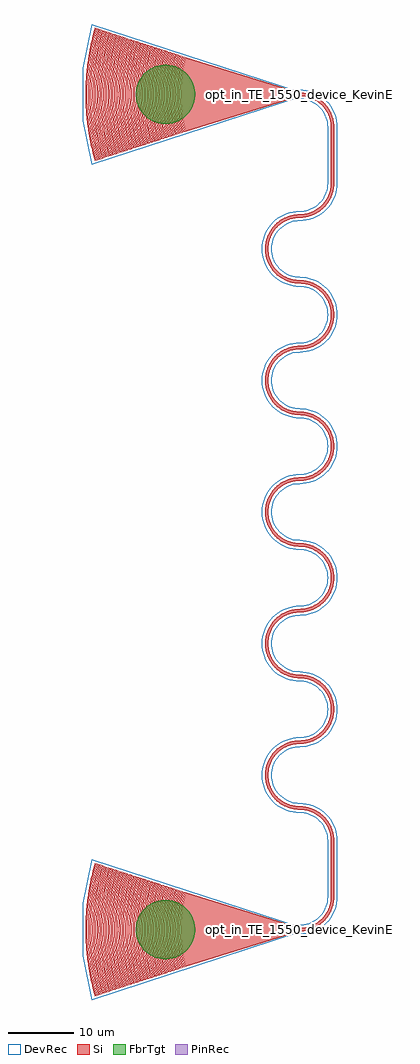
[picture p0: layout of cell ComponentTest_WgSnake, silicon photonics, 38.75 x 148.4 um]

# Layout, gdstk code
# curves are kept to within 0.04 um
import gdstk
lib = gdstk.Library(unit=1e-6, precision=1e-09)
def R(c, l, rs):  # rectangles x0, y0, x1, y1
    for r in rs: c.add(gdstk.rectangle(r[:2], r[2:], *l))
def P(c, l, *ps):  # polygons
    for p in ps: c.add(gdstk.Polygon(p, *l))
Si = (1, 0)
PinRec = (1, 10)
DevRec = (68, 0)
FbrTgt = (81, 0)

te1550_subgc_neg31_oxide = lib.new_cell('TE1550_SubGC_neg31_oxide')
P(te1550_subgc_neg31_oxide, Si, [(-17.556,-5.704),(-17.743,-4.914),(-17.881,-4.233),(-18.016,-3.437),(-18.095,-2.866),(-18.165,-2.237),(-18.222,-1.549),(-18.256,-0.918),(-18.274,-0.115),(-18.264,0.689),(-18.233,1.377),(-18.176,2.122),(-18.095,2.866),(-18.016,3.437),(-17.881,4.233),(-17.743,4.914),(-17.556,5.704),(-17.481,5.68),(-17.643,5.006),(-17.784,4.329),(-17.922,3.536),(-18.032,2.74),(-18.104,2.056),(-18.148,1.486),(-18.186,0.686),(-18.196,0.114),(-18.189,-0.572),(-18.165,-1.2),(-18.123,-1.828),(-18.058,-2.512),(-17.948,-3.365),(-17.826,-4.102),(-17.668,-4.893),(-17.481,-5.68)],
  [(-17.906,-5.818),(-18.207,-4.492),(-18.452,-2.982),(-18.601,-1.405),(-18.643,-0.117),(-18.601,1.405),(-18.452,2.982),(-18.207,4.492),(-17.906,5.818),(-17.659,5.738),(-17.932,4.544),(-18.188,2.998),(-18.338,1.443),(-18.383,0.116),(-18.338,-1.443),(-18.188,-2.998),(-17.932,-4.544),(-17.659,-5.738)],
  [(-18.084,-5.876),(-18.24,-5.237),(-18.4,-4.479),(-18.525,-3.776),(-18.629,-3.071),(-18.717,-2.305),(-18.772,-1.656),(-18.811,-0.946),(-18.83,-0.118),(-18.823,0.592),(-18.791,1.36),(-18.739,2.069),(-18.644,2.953),(-18.544,3.658),(-18.4,4.479),(-18.24,5.237),(-18.084,5.876),(-18.01,5.852),(-18.204,5.041),(-18.368,4.227),(-18.503,3.409),(-18.609,2.589),(-18.713,1.354),(-18.745,0.589),(-18.752,0.118),(-18.745,-0.589),(-18.713,-1.354),(-18.609,-2.589),(-18.503,-3.409),(-18.368,-4.227),(-18.204,-5.041),(-18.01,-5.852)],
  [(-18.435,-5.99),(-18.77,-4.506),(-19.001,-3.071),(-19.135,-1.748),(-19.199,-0.121),(-19.159,1.387),(-19.001,3.071),(-18.77,4.506),(-18.435,5.99),(-18.188,5.91),(-18.517,4.445),(-18.744,3.029),(-18.896,1.427),(-18.939,0.119),(-18.896,-1.427),(-18.759,-2.911),(-18.517,-4.445),(-18.188,-5.91)],
  [(-18.613,-6.048),(-18.815,-5.211),(-18.963,-4.49),(-19.099,-3.705),(-19.201,-2.979),(-19.269,-2.373),(-19.338,-1.522),(-19.369,-0.913),(-19.386,-0.122),(-19.377,0.67),(-19.349,1.339),(-19.286,2.191),(-19.201,2.979),(-19.099,3.705),(-18.963,4.49),(-18.815,5.211),(-18.613,6.048),(-18.539,6.024),(-18.713,5.309),(-18.876,4.532),(-19.013,3.751),(-19.131,2.907),(-19.203,2.242),(-19.264,1.455),(-19.291,0.91),(-19.308,0.121),(-19.299,-0.667),(-19.271,-1.334),(-19.239,-1.819),(-19.166,-2.605),(-19.076,-3.329),(-18.91,-4.352),(-18.753,-5.13),(-18.539,-6.024)],
  [(-18.964,-6.162),(-19.262,-4.881),(-19.533,-3.283),(-19.689,-1.799),(-19.755,-0.124),(-19.717,1.365),(-19.573,2.974),(-19.334,4.513),(-18.964,6.162),(-18.717,6.081),(-19.046,4.636),(-19.301,3.057),(-19.43,1.775),(-19.495,0.122),(-19.454,-1.408),(-19.301,-3.057),(-19.046,-4.636),(-18.717,-6.081)],
  [(-19.142,-6.22),(-19.337,-5.421),(-19.48,-4.742),(-19.625,-3.936),(-19.726,-3.251),(-19.808,-2.566),(-19.884,-1.691),(-19.924,-0.94),(-19.942,-0.125),(-19.934,0.626),(-19.9,1.44),(-19.833,2.316),(-19.758,3.002),(-19.635,3.874),(-19.516,4.556),(-19.337,5.421),(-19.142,6.22),(-19.068,6.195),(-19.289,5.277),(-19.44,4.538),(-19.587,3.673),(-19.696,2.866),(-19.772,2.12),(-19.822,1.435),(-19.853,0.749),(-19.864,0.125),(-19.853,-0.749),(-19.822,-1.435),(-19.772,-2.12),(-19.696,-2.866),(-19.587,-3.673),(-19.44,-4.538),(-19.289,-5.277),(-19.068,-6.195)],
  [(-19.493,-6.334),(-19.839,-4.829),(-20.107,-3.185),(-20.256,-1.658),(-20.311,-0.128),(-20.268,1.467),(-20.107,3.185),(-19.839,4.829),(-19.493,6.334),(-19.246,6.253),(-19.574,4.829),(-19.842,3.207),(-19.997,1.637),(-20.051,0.126),(-20.005,-1.511),(-19.866,-3.019),(-19.622,-4.581),(-19.246,-6.253)],
  [(-19.671,-6.391),(-19.843,-5.697),(-20.008,-4.937),(-20.149,-4.173),(-20.283,-3.278),(-20.379,-2.444),(-20.438,-1.738),(-20.482,-0.901),(-20.498,-0.129),(-20.482,0.901),(-20.438,1.738),(-20.379,2.444),(-20.283,3.278),(-20.149,4.173),(-20.008,4.937),(-19.843,5.697),(-19.671,6.391),(-19.597,6.367),(-19.797,5.55),(-20.005,4.538),(-20.153,3.648),(-20.246,2.946),(-20.325,2.179),(-20.373,1.539),(-20.404,0.898),(-20.42,0.128),(-20.412,-0.641),(-20.384,-1.347),(-20.336,-2.051),(-20.261,-2.819),(-20.153,-3.648),(-20.017,-4.474),(-19.825,-5.424),(-19.597,-6.367)],
  [(-20.022,-6.505),(-20.392,-4.896),(-20.656,-3.272),(-20.81,-1.704),(-20.867,-0.131),(-20.81,1.704),(-20.656,3.272),(-20.392,4.896),(-20.022,6.505),(-19.774,6.425),(-20.139,4.835),(-20.382,3.36),(-20.542,1.812),(-20.607,0.129),(-20.567,-1.424),(-20.399,-3.231),(-20.139,-4.835),(-19.774,-6.425)],
  [(-20.199,-6.563),(-20.437,-5.591),(-20.599,-4.809),(-20.726,-4.089),(-20.832,-3.367),(-20.931,-2.511),(-20.992,-1.785),(-21.04,-0.86),(-21.054,-0.132),(-21.044,0.728),(-21.001,1.653),(-20.931,2.511),(-20.849,3.235),(-20.726,4.089),(-20.599,4.809),(-20.437,5.591),(-20.199,6.563),(-20.125,6.539),(-20.347,5.635),(-20.523,4.791),(-20.67,3.943),(-20.804,2.961),(-20.878,2.239),(-20.923,1.647),(-20.962,0.857),(-20.976,0.132),(-20.966,-0.725),(-20.935,-1.449),(-20.878,-2.239),(-20.804,-2.961),(-20.67,-3.943),(-20.523,-4.791),(-20.347,-5.635),(-20.125,-6.539)],
  [(-20.55,-6.677),(-20.906,-5.158),(-21.205,-3.359),(-21.355,-1.883),(-21.423,-0.135),(-21.373,1.615),(-21.205,3.359),(-20.906,5.158),(-20.55,6.677),(-20.303,6.597),(-20.705,4.833),(-20.957,3.252),(-21.105,1.728),(-21.163,0.133),(-21.105,-1.728),(-20.957,-3.252),(-20.705,-4.833),(-20.303,-6.597)],
  [(-20.728,-6.735),(-20.912,-6.004),(-21.101,-5.136),(-21.249,-4.331),(-21.372,-3.523),(-21.483,-2.577),(-21.546,-1.832),(-21.593,-0.95),(-21.61,-0.136),(-21.593,0.95),(-21.555,1.696),(-21.483,2.577),(-21.39,3.388),(-21.249,4.331),(-21.101,5.136),(-20.912,6.004),(-20.728,6.735),(-20.654,6.711),(-20.868,5.85),(-21.025,5.118),(-21.195,4.181),(-21.33,3.241),(-21.412,2.5),(-21.473,1.758),(-21.515,0.947),(-21.532,0.135),(-21.525,-0.609),(-21.497,-1.352),(-21.448,-2.095),(-21.37,-2.904),(-21.237,-3.913),(-21.077,-4.85),(-20.868,-5.85),(-20.654,-6.711)],
  [(-21.079,-6.849),(-21.432,-5.359),(-21.736,-3.583),(-21.923,-1.725),(-21.979,-0.138),(-21.923,1.725),(-21.772,3.308),(-21.473,5.155),(-21.079,6.849),(-20.832,6.769),(-21.207,5.162),(-21.47,3.608),(-21.664,1.705),(-21.719,0.136),(-21.664,-1.705),(-21.515,-3.269),(-21.207,-5.162),(-20.832,-6.769)],
  [(-21.257,-6.907),(-21.494,-5.953),(-21.655,-5.199),(-21.817,-4.304),(-21.93,-3.544),(-22.042,-2.574),(-22.105,-1.81),(-22.146,-1.044),(-22.166,-0.139),(-22.159,0.627),(-22.114,1.67),(-22.042,2.574),(-21.957,3.336),(-21.817,4.304),(-21.655,5.199),(-21.494,5.953),(-21.257,6.907),(-21.183,6.883),(-21.419,5.932),(-21.606,5.044),(-21.773,4.083),(-21.888,3.256),(-21.971,2.495),(-22.036,1.665),(-22.073,0.902),(-22.088,0.139),(-22.081,-0.624),(-22.052,-1.387),(-22.001,-2.149),(-21.905,-3.117),(-21.773,-4.083),(-21.606,-5.044),(-21.419,-5.932),(-21.183,-6.883)],
  [(-21.608,-7.021),(-21.985,-5.425),(-22.294,-3.603),(-22.482,-1.698),(-22.535,-0.142),(-22.482,1.698),(-22.294,3.603),(-21.985,5.425),(-21.608,7.021),(-21.361,6.941),(-21.761,5.224),(-22.028,3.631),(-22.218,1.749),(-22.275,0.14),(-22.227,-1.609),(-22.073,-3.283),(-21.788,-5.086),(-21.361,-6.941)],
  [(-21.786,-7.079),(-21.964,-6.381),(-22.167,-5.469),(-22.302,-4.765),(-22.469,-3.704),(-22.565,-2.923),(-22.649,-1.997),(-22.704,-0.999),(-22.722,-0.143),(-22.713,0.714),(-22.677,1.57),(-22.601,2.567),(-22.488,3.562),(-22.374,4.341),(-22.195,5.329),(-22.03,6.101),(-21.786,7.079),(-21.712,7.055),(-21.922,6.22),(-22.161,5.1),(-22.308,4.256),(-22.447,3.267),(-22.53,2.487),(-22.586,1.778),(-22.626,0.996),(-22.644,0.142),(-22.635,-0.711),(-22.595,-1.635),(-22.53,-2.487),(-22.447,-3.267),(-22.308,-4.256),(-22.161,-5.1),(-21.922,-6.22),(-21.712,-7.055)],
  [(-22.137,-7.193),(-22.54,-5.486),(-22.843,-3.692),(-23.011,-2.102),(-23.091,-0.145),(-23.045,1.595),(-22.862,3.547),(-22.54,5.486),(-22.137,7.193),(-21.89,7.112),(-22.287,5.425),(-22.596,3.579),(-22.777,1.721),(-22.831,0.143),(-22.777,-1.721),(-22.596,-3.579),(-22.287,-5.425),(-21.89,-7.112)],
  [(-22.315,-7.25),(-22.549,-6.321),(-22.736,-5.458),(-22.895,-4.592),(-23.047,-3.576),(-23.139,-2.776),(-23.218,-1.827),(-23.262,-0.951),(-23.278,-0.146),(-23.262,0.951),(-23.218,1.827),(-23.139,2.776),(-23.047,3.576),(-22.895,4.592),(-22.736,5.458),(-22.549,6.321),(-22.315,7.25),(-22.24,7.226),(-22.457,6.372),(-22.646,5.512),(-22.843,4.432),(-22.979,3.492),(-23.076,2.621),(-23.145,1.748),(-23.184,0.947),(-23.2,0.146),(-23.194,-0.583),(-23.158,-1.53),(-23.102,-2.33),(-23.006,-3.274),(-22.899,-4.071),(-22.73,-5.081),(-22.507,-6.157),(-22.24,-7.226)],
  [(-22.666,-7.364),(-23.095,-5.545),(-23.392,-3.78),(-23.581,-1.93),(-23.647,-0.149),(-23.586,1.856),(-23.421,3.559),(-23.095,5.545),(-22.666,7.364),(-22.418,7.284),(-22.842,5.484),(-23.145,3.666),(-23.311,2.056),(-23.387,0.147),(-23.336,-1.689),(-23.145,-3.666),(-22.842,-5.484),(-22.418,-7.284)],
  [(-22.843,-7.422),(-23.067,-6.545),(-23.262,-5.662),(-23.441,-4.701),(-23.556,-3.959),(-23.691,-2.842),(-23.762,-2.02),(-23.815,-1.048),(-23.834,-0.15),(-23.82,0.898),(-23.782,1.721),(-23.713,2.618),(-23.606,3.587),(-23.441,4.701),(-23.277,5.588),(-23.067,6.545),(-22.843,7.422),(-22.769,7.398),(-22.992,6.523),(-23.201,5.57),(-23.389,4.538),(-23.538,3.501),(-23.642,2.535),(-23.704,1.716),(-23.742,0.895),(-23.756,0.149),(-23.742,-0.895),(-23.704,-1.716),(-23.642,-2.535),(-23.565,-3.278),(-23.401,-4.464),(-23.23,-5.423),(-22.992,-6.523),(-22.769,-7.398)],
  [(-23.194,-7.536),(-23.605,-5.824),(-23.951,-3.793),(-24.135,-1.976),(-24.203,-0.152),(-24.15,1.748),(-23.961,3.718),(-23.605,5.824),(-23.194,7.536),(-22.947,7.456),(-23.368,5.688),(-23.684,3.827),(-23.876,1.955),(-23.943,0.15),(-23.886,-1.804),(-23.704,-3.678),(-23.383,-5.614),(-22.947,-7.456)],
  [(-23.372,-7.594),(-23.602,-6.696),(-23.802,-5.793),(-23.96,-4.962),(-24.115,-3.975),(-24.219,-3.137),(-24.316,-2.067),(-24.373,-0.996),(-24.39,-0.153),(-24.373,0.996),(-24.316,2.067),(-24.219,3.137),(-24.115,3.975),(-23.96,4.962),(-23.802,5.793),(-23.602,6.696),(-23.372,7.594),(-23.298,7.57),(-23.562,6.525),(-23.801,5.399),(-23.971,4.417),(-24.088,3.583),(-24.188,2.67),(-24.249,1.908),(-24.295,0.993),(-24.312,0.153),(-24.3,-0.84),(-24.263,-1.68),(-24.195,-2.594),(-24.088,-3.583),(-23.971,-4.417),(-23.801,-5.399),(-23.562,-6.525),(-23.298,-7.57)],
  [(-23.723,-7.708),(-24.145,-5.957),(-24.479,-4.035),(-24.678,-2.176),(-24.759,-0.156),(-24.709,1.71),(-24.5,3.88),(-24.145,5.957),(-23.723,7.708),(-23.476,7.628),(-23.908,5.819),(-24.233,3.916),(-24.43,2),(-24.499,0.154),(-24.43,-2),(-24.233,-3.916),(-23.908,-5.819),(-23.476,-7.628)],
  [(-23.901,-7.766),(-24.137,-6.848),(-24.358,-5.848),(-24.518,-4.997),(-24.674,-3.987),(-24.779,-3.13),(-24.87,-2.115),(-24.916,-1.332),(-24.946,-0.157),(-24.931,0.94),(-24.891,1.802),(-24.803,2.896),(-24.695,3.832),(-24.531,4.92),(-24.358,5.848),(-24.137,6.848),(-23.901,7.766),(-23.827,7.742),(-24.098,6.674),(-24.313,5.676),(-24.493,4.672),(-24.638,3.665),(-24.733,2.809),(-24.803,1.952),(-24.848,1.094),(-24.868,0.156),(-24.858,-0.781),(-24.818,-1.718),(-24.733,-2.809),(-24.638,-3.665),(-24.493,-4.672),(-24.313,-5.676),(-24.098,-6.674),(-23.827,-7.742)],
  [(-24.252,-7.88),(-24.717,-5.934),(-25.049,-3.967),(-25.232,-2.225),(-25.315,-0.159),(-25.259,1.828),(-25.07,3.809),(-24.717,5.934),(-24.252,7.88),(-24.005,7.8),(-24.464,5.873),(-24.782,4.005),(-24.973,2.202),(-25.055,0.157),(-25.009,-1.652),(-24.803,-3.848),(-24.464,-5.873),(-24.005,-7.8)],
  [(-24.43,-7.938),(-24.709,-6.843),(-24.866,-6.135),(-25.049,-5.187),(-25.234,-3.997),(-25.339,-3.12),(-25.424,-2.162),(-25.478,-1.202),(-25.502,-0.16),(-25.489,0.881),(-25.435,2.002),(-25.339,3.12),(-25.234,3.997),(-25.049,5.187),(-24.866,6.135),(-24.709,6.843),(-24.43,7.938),(-24.356,7.914),(-24.634,6.822),(-24.839,5.881),(-25,5.014),(-25.178,3.826),(-25.278,2.952),(-25.352,2.075),(-25.397,1.278),(-25.424,0.16),(-25.409,-0.958),(-25.377,-1.677),(-25.293,-2.792),(-25.198,-3.667),(-25.052,-4.697),(-24.839,-5.881),(-24.634,-6.822),(-24.356,-7.914)],
  [(-24.781,-8.052),(-25.241,-6.144),(-25.576,-4.216),(-25.803,-2.031),(-25.871,-0.163),(-25.803,2.031),(-25.609,3.974),(-25.274,5.984),(-24.781,8.052),(-24.533,7.971),(-24.972,6.161),(-25.308,4.253),(-25.544,2.01),(-25.611,0.161),(-25.544,-2.01),(-25.352,-3.934),(-25.021,-5.924),(-24.533,-7.971)],
  [(-24.959,-8.11),(-25.187,-7.232),(-25.423,-6.188),(-25.635,-5.057),(-25.772,-4.165),(-25.891,-3.188),(-25.984,-2.127),(-26.03,-1.31),(-26.058,-0.164),(-26.045,0.9),(-25.995,1.964),(-25.891,3.188),(-25.794,4.002),(-25.635,5.057),(-25.423,6.188),(-25.187,7.232),(-24.959,8.11),(-24.884,8.085),(-25.15,7.051),(-25.38,6.009),(-25.572,4.961),(-25.738,3.828),(-25.846,2.853),(-25.917,1.958),(-25.967,0.898),(-25.98,0.163),(-25.967,-0.898),(-25.932,-1.713),(-25.868,-2.609),(-25.768,-3.585),(-25.624,-4.638),(-25.412,-5.848),(-25.207,-6.811),(-24.884,-8.085)],
  [(-25.31,-8.224),(-25.815,-6.112),(-26.136,-4.224),(-26.357,-2.074),(-26.427,-0.166),(-26.368,1.909),(-26.18,3.894),(-25.815,6.112),(-25.31,8.224),(-25.062,8.143),(-25.512,6.295),(-25.868,4.264),(-26.098,2.054),(-26.167,0.164),(-26.123,-1.644),(-25.923,-3.856),(-25.562,-6.052),(-25.062,-8.143)],
  [(-25.487,-8.281),(-25.761,-7.222),(-25.946,-6.402),(-26.152,-5.33),(-26.321,-4.254),(-26.451,-3.173),(-26.532,-2.256),(-26.589,-1.254),(-26.614,-0.167),(-26.598,1.003),(-26.538,2.172),(-26.451,3.173),(-26.321,4.254),(-26.152,5.33),(-25.946,6.402),(-25.761,7.222),(-25.487,8.281),(-25.413,8.257),(-25.686,7.201),(-25.921,6.137),(-26.118,5.067),(-26.288,3.91),(-26.374,3.164),(-26.466,2.083),(-26.511,1.25),(-26.536,0.167),(-26.525,-0.834),(-26.482,-1.833),(-26.406,-2.831),(-26.288,-3.91),(-26.118,-5.067),(-25.921,-6.137),(-25.686,-7.201),(-25.413,-8.257)],
  [(-25.838,-8.395),(-26.339,-6.323),(-26.685,-4.312),(-26.887,-2.456),(-26.983,-0.17),(-26.917,2.033),(-26.708,4.144),(-26.356,6.24),(-25.838,8.395),(-25.591,8.315),(-26.086,6.263),(-26.44,4.188),(-26.658,2.014),(-26.723,0.168),(-26.658,-2.014),(-26.44,-4.188),(-26.086,-6.263),(-25.591,-8.315)],
  [(-26.016,-8.453),(-26.256,-7.539),(-26.503,-6.451),(-26.697,-5.441),(-26.858,-4.427),(-26.976,-3.494),(-27.086,-2.303),(-27.144,-1.28),(-27.17,-0.085),(-27.156,0.939),(-27.098,2.133),(-27.012,3.154),(-26.893,4.173),(-26.726,5.272),(-26.538,6.283),(-26.256,7.539),(-26.016,8.453),(-25.942,8.429),(-26.261,7.184),(-26.479,6.181),(-26.664,5.173),(-26.838,3.992),(-26.943,3.06),(-27.026,2.042),(-27.078,0.936),(-27.092,0.085),(-27.078,-0.936),(-27.026,-2.042),(-26.943,-3.06),(-26.838,-3.992),(-26.664,-5.173),(-26.479,-6.181),(-26.261,-7.184),(-25.942,-8.429)],
  [(-26.367,-8.567),(-26.897,-6.368),(-27.246,-4.315),(-27.466,-2.162),(-27.539,-0.087),(-27.466,2.162),(-27.246,4.315),(-26.897,6.368),(-26.367,8.567),(-26.12,8.487),(-26.644,6.308),(-26.989,4.275),(-27.218,1.97),(-27.279,0.086),(-27.218,-1.97),(-26.989,-4.275),(-26.644,-6.308),(-26.12,-8.487)],
  [(-26.545,-8.625),(-26.832,-7.522),(-27.079,-6.411),(-27.286,-5.294),(-27.442,-4.258),(-27.573,-3.132),(-27.658,-2.089),(-27.712,-0.958),(-27.726,-0.087),(-27.712,0.958),(-27.658,2.089),(-27.573,3.132),(-27.442,4.258),(-27.286,5.294),(-27.079,6.411),(-26.832,7.522),(-26.545,8.625),(-26.471,8.601),(-26.777,7.416),(-27.003,6.393),(-27.195,5.365),(-27.365,4.246),(-27.487,3.209),(-27.586,1.997),(-27.634,0.955),(-27.648,0.087),(-27.634,-0.955),(-27.586,-1.997),(-27.52,-2.863),(-27.42,-3.815),(-27.265,-4.935),(-27.071,-6.051),(-26.817,-7.246),(-26.63,-8.01),(-26.471,-8.601)],
  [(-26.896,-8.739),(-27.402,-6.67),(-27.783,-4.49),(-28.014,-2.293),(-28.095,-0.088),(-28.026,2.117),(-27.807,4.315),(-27.438,6.496),(-26.896,8.739),(-26.649,8.659),(-27.185,6.436),(-27.55,4.275),(-27.761,2.185),(-27.835,0.087),(-27.761,-2.185),(-27.55,-4.275),(-27.185,-6.436),(-26.649,-8.659)],
  [(-27.074,-8.797),(-27.346,-7.759),(-27.602,-6.627),(-27.802,-5.576),(-27.955,-4.608),(-28.098,-3.46),(-28.194,-2.397),(-28.255,-1.332),(-28.282,-0.089),(-28.265,1.066),(-28.218,2.042),(-28.134,3.106),(-28.015,4.167),(-27.832,5.4),(-27.62,6.539),(-27.346,7.759),(-27.074,8.797),(-27,8.773),(-27.292,7.651),(-27.544,6.521),(-27.77,5.297),(-27.949,4.067),(-28.048,3.186),(-28.129,2.214),(-28.184,1.152),(-28.204,0.089),(-28.187,-1.063),(-28.146,-1.948),(-28.073,-2.921),(-27.949,-4.067),(-27.77,-5.297),(-27.544,-6.521),(-27.292,-7.651),(-27,-8.773)],
  [(-27.425,-8.911),(-27.979,-6.624),(-28.344,-4.489),(-28.568,-2.339),(-28.651,-0.09),(-28.568,2.339),(-28.344,4.489),(-27.979,6.624),(-27.425,8.911),(-27.177,8.83),(-27.708,6.652),(-28.075,4.537),(-28.309,2.317),(-28.391,0.089),(-28.309,-2.317),(-28.075,-4.537),(-27.708,-6.652),(-27.177,-8.83)],
  [(-27.603,-8.969),(-27.881,-7.91),(-28.124,-6.845),(-28.347,-5.685),(-28.529,-4.518),(-28.678,-3.257),(-28.761,-2.264),(-28.814,-1.268),(-28.838,-0.091),(-28.826,0.906),(-28.761,2.264),(-28.678,3.257),(-28.529,4.518),(-28.347,5.685),(-28.124,6.845),(-27.881,7.91),(-27.603,8.969),(-27.528,8.944),(-27.806,7.889),(-28.085,6.649),(-28.316,5.402),(-28.476,4.327),(-28.582,3.428),(-28.677,2.348),(-28.736,1.265),(-28.76,0.09),(-28.748,-0.903),(-28.695,-2.077),(-28.609,-3.158),(-28.499,-4.147),(-28.331,-5.312),(-28.121,-6.472),(-27.87,-7.624),(-27.528,-8.944)],
  [(-27.953,-9.083),(-28.52,-6.752),(-28.893,-4.576),(-29.135,-2.201),(-29.207,-0.092),(-29.135,2.201),(-28.918,4.394),(-28.52,6.752),(-27.953,9.083),(-27.706,9.002),(-28.23,6.871),(-28.624,4.626),(-28.863,2.363),(-28.947,0.091),(-28.887,-2),(-28.649,-4.445),(-28.23,-6.871),(-27.706,-9.002)],
  [(-28.131,-9.14),(-28.416,-8.062),(-28.645,-7.068),(-28.86,-5.977),(-29.078,-4.605),(-29.221,-3.412),(-29.315,-2.307),(-29.373,-1.2),(-29.394,-0.092),(-29.373,1.2),(-29.315,2.307),(-29.221,3.412),(-29.078,4.605),(-28.86,5.977),(-28.645,7.068),(-28.416,8.062),(-28.131,9.14),(-28.057,9.116),(-28.363,7.951),(-28.663,6.596),(-28.892,5.323),(-29.061,4.136),(-29.179,3.036),(-29.255,2.025),(-29.301,1.013),(-29.316,0.092),(-29.301,-1.013),(-29.255,-2.025),(-29.179,-3.036),(-29.061,-4.136),(-28.892,-5.323),(-28.663,-6.596),(-28.363,-7.951),(-28.057,-9.116)],
  [(-28.482,-9.254),(-29.003,-7.156),(-29.416,-4.849),(-29.683,-2.336),(-29.763,-0.094),(-29.683,2.336),(-29.455,4.57),(-29.042,6.972),(-28.482,9.254),(-28.235,9.174),(-28.77,7.003),(-29.173,4.714),(-29.424,2.316),(-29.503,0.093),(-29.424,-2.316),(-29.173,-4.714),(-28.77,-7.003),(-28.235,-9.174)],
  [(-28.66,-9.312),(-28.928,-8.306),(-29.224,-7.016),(-29.421,-5.996),(-29.601,-4.879),(-29.733,-3.851),(-29.863,-2.445),(-29.925,-1.317),(-29.95,-0.094),(-29.937,0.941),(-29.882,2.163),(-29.792,3.289),(-29.64,4.599),(-29.437,5.904),(-29.224,7.016),(-28.928,8.306),(-28.66,9.312),(-28.586,9.288),(-28.898,8.101),(-29.148,6.998),(-29.393,5.703),(-29.563,4.587),(-29.696,3.467),(-29.798,2.251),(-29.847,1.314),(-29.872,0.094),(-29.862,-0.845),(-29.798,-2.251),(-29.696,-3.467),(-29.563,-4.587),(-29.393,-5.703),(-29.148,-6.998),(-28.898,-8.101),(-28.586,-9.288)],
  [(-29.011,-9.426),(-29.563,-7.196),(-29.965,-4.939),(-30.237,-2.38),(-30.319,-0.095),(-30.25,2.19),(-30.017,4.561),(-29.602,7.008),(-29.011,9.426),(-28.764,9.346),(-29.33,7.041),(-29.735,4.709),(-29.978,2.359),(-30.059,0.094),(-29.978,-2.359),(-29.735,-4.709),(-29.33,-7.041),(-28.764,-9.346)],
  [(-29.189,-9.484),(-29.554,-8.085),(-29.784,-7.052),(-29.999,-5.918),(-30.163,-4.874),(-30.295,-3.827),(-30.417,-2.49),(-30.484,-1.246),(-30.506,-0.096),(-30.484,1.246),(-30.417,2.49),(-30.295,3.827),(-30.163,4.874),(-29.999,5.918),(-29.784,7.052),(-29.554,8.085),(-29.189,9.484),(-29.115,9.46),(-29.456,8.158),(-29.708,7.034),(-29.97,5.62),(-30.125,4.577),(-30.248,3.532),(-30.346,2.388),(-30.406,1.242),(-30.428,0.096),(-30.406,-1.242),(-30.346,-2.388),(-30.248,-3.532),(-30.125,-4.577),(-29.97,-5.62),(-29.708,-7.034),(-29.456,-8.158),(-29.115,-9.46)],
  [(-29.54,-9.598),(-30.143,-7.137),(-30.554,-4.741),(-30.798,-2.327),(-30.875,-0.097),(-30.798,2.327),(-30.554,4.741),(-30.143,7.137),(-29.54,9.598),(-29.293,9.518),(-29.89,7.077),(-30.284,4.796),(-30.539,2.307),(-30.615,0.096),(-30.539,-2.307),(-30.284,-4.796),(-29.89,-7.077),(-29.293,-9.518)],
  [(-29.718,-9.656),(-29.997,-8.613),(-30.285,-7.371),(-30.493,-6.315),(-30.712,-4.963),(-30.857,-3.8),(-30.964,-2.633),(-31.036,-1.366),(-31.062,-0.098),(-31.046,1.073),(-30.991,2.243),(-30.897,3.411),(-30.752,4.673),(-30.561,5.929),(-30.345,7.084),(-30.044,8.422),(-29.718,9.656),(-29.643,9.632),(-29.969,8.401),(-30.269,7.066),(-30.501,5.818),(-30.7,4.468),(-30.829,3.306),(-30.907,2.335),(-30.965,1.168),(-30.984,0.097),(-30.965,-1.168),(-30.907,-2.335),(-30.829,-3.306),(-30.7,-4.468),(-30.501,-5.818),(-30.269,-7.066),(-29.969,-8.401),(-29.643,-9.632)],
  [(-30.069,-9.77),(-30.664,-7.362),(-31.09,-4.924),(-31.346,-2.467),(-31.431,-0.099),(-31.346,2.467),(-31.09,4.924),(-30.664,7.362),(-30.069,9.77),(-29.821,9.69),(-30.411,7.301),(-30.833,4.883),(-31.093,2.349),(-31.171,0.098),(-31.093,-2.349),(-30.833,-4.883),(-30.411,-7.301),(-29.821,-9.69)],
  [(-30.246,-9.828),(-30.603,-8.475),(-30.866,-7.308),(-31.107,-6.035),(-31.288,-4.855),(-31.43,-3.67),(-31.539,-2.382),(-31.595,-1.291),(-31.618,-0.099),(-31.595,1.291),(-31.539,2.382),(-31.43,3.67),(-31.288,4.855),(-31.107,6.035),(-30.866,7.308),(-30.603,8.475),(-30.246,9.828),(-30.172,9.804),(-30.528,8.455),(-30.77,7.387),(-30.907,6.705),(-31.047,5.922),(-31.211,4.843),(-31.342,3.759),(-31.461,2.377),(-31.517,1.288),(-31.54,0.099),(-31.529,-0.892),(-31.474,-2.179),(-31.391,-3.266),(-31.25,-4.548),(-31.047,-5.922),(-30.83,-7.095),(-30.528,-8.455),(-30.172,-9.804)],
  [(-30.597,-9.942),(-31.225,-7.393),(-31.625,-5.111),(-31.893,-2.611),(-31.987,-0.1),(-31.907,2.41),(-31.653,4.911),(-31.225,7.393),(-30.597,9.942),(-30.35,9.861),(-30.931,7.529),(-31.396,4.872),(-31.641,2.49),(-31.727,0.1),(-31.641,-2.49),(-31.396,-4.872),(-30.931,-7.529),(-30.35,-9.861)],
  [(-30.775,-9.999),(-31.09,-8.821),(-31.344,-7.734),(-31.564,-6.64),(-31.795,-5.241),(-31.95,-4.036),(-32.072,-2.727),(-32.129,-1.819),(-32.154,-1.213),(-32.174,-0.101),(-32.154,1.213),(-32.1,2.323),(-32.012,3.432),(-31.851,4.84),(-31.686,5.941),(-31.428,7.337),(-31.139,8.624),(-30.775,9.999),(-30.701,9.975),(-31.015,8.8),(-31.18,8.11),(-31.352,7.319),(-31.593,6.027),(-31.774,4.828),(-31.915,3.625),(-32.009,2.519),(-32.069,1.411),(-32.096,0.101),(-32.076,-1.21),(-32.009,-2.519),(-31.915,-3.625),(-31.774,-4.828),(-31.593,-6.027),(-31.352,-7.319),(-31.18,-8.11),(-31.015,-8.8),(-30.701,-9.975)],
  [(-31.126,-10.114),(-31.724,-7.722),(-32.174,-5.199),(-32.447,-2.656),(-32.543,-0.102),(-32.519,1.329),(-32.447,2.656),(-32.174,5.199),(-31.724,7.722),(-31.126,10.114),(-30.879,10.033),(-31.471,7.66),(-31.917,5.158),(-32.188,2.635),(-32.283,0.101),(-32.202,-2.433),(-31.959,-4.856),(-31.534,-7.361),(-31.244,-8.653),(-30.879,-10.033)],
  [(-17.378,-5.646),(-17.678,-4.303),(-17.903,-2.893),(-18.043,-1.42),(-18.087,-0.114),(-18.05,1.306),(-17.924,2.724),(-17.678,4.303),(-17.378,5.646),(0,0.25),(0,-0.25)])
te1550_subgc_neg31_oxide.add(gdstk.Label('Ref: Yun Wang, Optics Express, 08/2014', (-33,0), layer=10, texttype=0))
te1550_subgc_neg31_oxide.add(gdstk.Label('http://dx.doi.org/10.1364/OE.22.020652', (-33,-2), layer=10, texttype=0))
te1550_subgc_neg31_oxide.add(gdstk.Label('TE 1550 -31 deg', (-33,2), layer=10, texttype=0))

ebeam_gc_te1550 = lib.new_cell('ebeam_gc_te1550')
R(ebeam_gc_te1550, Si, [(-0.001,-0.001,0.001,0.001)])
P(ebeam_gc_te1550, DevRec, [(-31.6,-10.7),(-33,-4),(-33,4),(-31.6,10.7),(0,0.4),(0,-0.4)])
P(ebeam_gc_te1550, FbrTgt, [(-20.621,-4.5),(-21.495,-4.37),(-22.326,-4.073),(-23.084,-3.619),(-23.738,-3.026),(-24.264,-2.316),(-24.642,-1.518),(-24.857,-0.661),(-24.9,0.221),(-24.77,1.095),(-24.473,1.926),(-24.019,2.684),(-23.426,3.338),(-22.716,3.864),(-21.918,4.242),(-21.061,4.457),(-20.179,4.5),(-19.305,4.37),(-18.474,4.073),(-17.716,3.619),(-17.062,3.026),(-16.536,2.316),(-16.158,1.518),(-15.943,0.661),(-15.9,-0.221),(-16.03,-1.095),(-16.327,-1.926),(-16.781,-2.684),(-17.374,-3.338),(-18.084,-3.864),(-18.882,-4.242),(-19.739,-4.457)])
ebeam_gc_te1550.add(gdstk.FlexPath([(-0.05,0),(0.05,0)], 0.5, ends="flush", simple_path=True, layer=1, datatype=10))  # PinRec
ebeam_gc_te1550.add(gdstk.Reference(te1550_subgc_neg31_oxide, (0,0)))
ebeam_gc_te1550.add(gdstk.Label('opt1', (0,0), layer=1, texttype=10))
ebeam_gc_te1550.add(gdstk.Label('Component=ebeam_gc_te1550', (-28,-5), layer=68, texttype=0))
ebeam_gc_te1550.add(gdstk.Label('Lumerical_INTERCONNECT_library=Design kits/ebeam', (-29,-7), layer=68, texttype=0))

waveguide_36 = lib.new_cell('Waveguide$36')
P(waveguide_36, Si, [(-240,-127.25),(-240,-126.75),(-239.19,-126.681),(-238.404,-126.474),(-237.664,-126.136),(-236.993,-125.678),(-236.5,-125.212),(-236.08,-124.681),(-235.737,-124.096),(-235.483,-123.468),(-235.319,-122.81),(-235.25,-122),(-235.25,-113.5),(-235.374,-112.424),(-235.679,-111.527),(-236.158,-110.707),(-236.788,-110),(-237.548,-109.432),(-238.151,-109.124),(-238.924,-108.874),(-239.594,-108.767),(-240.747,-108.697),(-241.622,-108.493),(-242.582,-108.072),(-243.55,-107.368),(-244.334,-106.463),(-244.836,-105.543),(-245.145,-104.543),(-245.25,-103.5),(-245.145,-102.457),(-244.836,-101.457),(-244.334,-100.537),(-243.659,-99.735),(-242.712,-99.004),(-241.764,-98.556),(-240.747,-98.303),(-239.459,-98.219),(-238.793,-98.094),(-237.904,-97.763),(-237.207,-97.342),(-236.41,-96.61),(-235.799,-95.717),(-235.406,-94.707),(-235.258,-93.771),(-235.319,-92.69),(-235.574,-91.776),(-236.004,-90.933),(-236.689,-90.093),(-237.548,-89.432),(-238.404,-89.026),(-239.19,-88.819),(-240.599,-88.715),(-241.335,-88.578),(-242.316,-88.211),(-243.085,-87.748),(-243.968,-86.938),(-244.572,-86.082),(-245.037,-84.98),(-245.242,-83.799),(-245.197,-82.753),(-244.892,-81.596),(-244.416,-80.661),(-243.765,-79.841),(-242.963,-79.166),(-241.904,-78.608),(-240.896,-78.327),(-239.459,-78.219),(-238.793,-78.094),(-237.904,-77.763),(-237.207,-77.342),(-236.41,-76.61),(-235.799,-75.717),(-235.406,-74.707),(-235.258,-73.771),(-235.319,-72.69),(-235.574,-71.776),(-236.004,-70.933),(-236.689,-70.093),(-237.548,-69.432),(-238.404,-69.026),(-239.19,-68.819),(-240.599,-68.715),(-241.335,-68.578),(-242.316,-68.211),(-243.085,-67.748),(-243.968,-66.938),(-244.572,-66.082),(-245.037,-64.98),(-245.242,-63.799),(-245.197,-62.753),(-244.892,-61.596),(-244.334,-60.537),(-243.659,-59.735),(-242.712,-59.004),(-241.764,-58.556),(-240.747,-58.303),(-239.459,-58.219),(-238.793,-58.094),(-238.027,-57.821),(-237.319,-57.42),(-236.5,-56.712),(-235.864,-55.836),(-235.483,-54.968),(-235.267,-53.906),(-235.281,-52.959),(-235.526,-51.904),(-236.004,-50.933),(-236.689,-50.093),(-237.548,-49.432),(-238.404,-49.026),(-239.19,-48.819),(-240.599,-48.715),(-241.335,-48.578),(-242.316,-48.211),(-243.085,-47.748),(-243.968,-46.938),(-244.572,-46.082),(-245.037,-44.98),(-245.231,-43.95),(-245.197,-42.753),(-244.892,-41.596),(-244.334,-40.537),(-243.659,-39.735),(-242.712,-39.004),(-241.764,-38.556),(-240.747,-38.303),(-239.459,-38.219),(-238.793,-38.094),(-238.027,-37.821),(-237.319,-37.42),(-236.593,-36.811),(-235.932,-35.952),(-235.526,-35.096),(-235.281,-34.041),(-235.281,-32.959),(-235.526,-31.904),(-236.004,-30.933),(-236.689,-30.093),(-237.548,-29.432),(-238.404,-29.026),(-239.19,-28.819),(-240.599,-28.715),(-241.335,-28.578),(-242.181,-28.275),(-242.963,-27.834),(-243.765,-27.159),(-244.496,-26.212),(-244.944,-25.264),(-245.197,-24.247),(-245.231,-23.05),(-244.993,-21.878),(-244.496,-20.788),(-244.158,-20.294),(-243.659,-19.735),(-242.712,-19.004),(-241.764,-18.556),(-240.747,-18.303),(-239.459,-18.219),(-238.793,-18.094),(-238.151,-17.876),(-237.433,-17.496),(-236.689,-16.907),(-236.08,-16.181),(-235.624,-15.349),(-235.345,-14.443),(-235.25,-13.5),(-235.25,-5),(-235.319,-4.19),(-235.483,-3.532),(-235.737,-2.904),(-236.08,-2.319),(-236.5,-1.788),(-236.993,-1.322),(-237.664,-0.864),(-238.404,-0.526),(-239.19,-0.319),(-240,-0.25),(-240,0.25),(-238.957,0.145),(-237.957,-0.164),(-237.037,-0.666),(-236.341,-1.235),(-235.666,-2.037),(-235.164,-2.957),(-234.855,-3.957),(-234.75,-5),(-234.758,-13.799),(-234.963,-14.98),(-235.428,-16.082),(-235.842,-16.706),(-236.45,-17.368),(-237.037,-17.834),(-237.684,-18.211),(-238.378,-18.493),(-238.957,-18.645),(-240.541,-18.781),(-241.338,-18.943),(-242.096,-19.237),(-242.9,-19.738),(-243.678,-20.493),(-244.263,-21.404),(-244.594,-22.293),(-244.748,-23.364),(-244.681,-24.31),(-244.376,-25.349),(-243.92,-26.181),(-243.311,-26.907),(-242.452,-27.568),(-241.596,-27.974),(-240.81,-28.181),(-239.401,-28.285),(-238.665,-28.422),(-237.684,-28.789),(-236.915,-29.252),(-236.032,-30.062),(-235.428,-30.918),(-234.963,-32.02),(-234.758,-33.201),(-234.803,-34.247),(-235.108,-35.404),(-235.584,-36.339),(-236.235,-37.159),(-237.037,-37.834),(-238.096,-38.392),(-239.104,-38.673),(-240.541,-38.781),(-241.207,-38.906),(-242.096,-39.237),(-242.793,-39.658),(-243.59,-40.39),(-244.201,-41.283),(-244.594,-42.293),(-244.742,-43.229),(-244.681,-44.31),(-244.426,-45.224),(-243.996,-46.067),(-243.311,-46.907),(-242.452,-47.568),(-241.596,-47.974),(-240.81,-48.181),(-239.401,-48.285),(-238.665,-48.422),(-237.684,-48.789),(-236.915,-49.252),(-236.032,-50.062),(-235.428,-50.918),(-234.963,-52.02),(-234.758,-53.201),(-234.803,-54.247),(-235.108,-55.404),(-235.666,-56.463),(-236.341,-57.265),(-237.288,-57.996),(-238.236,-58.444),(-239.253,-58.697),(-240.541,-58.781),(-241.207,-58.906),(-241.973,-59.179),(-242.681,-59.58),(-243.5,-60.288),(-244.136,-61.164),(-244.517,-62.032),(-244.733,-63.094),(-244.719,-64.041),(-244.474,-65.096),(-243.996,-66.067),(-243.311,-66.907),(-242.452,-67.568),(-241.596,-67.974),(-240.81,-68.181),(-239.401,-68.285),(-238.665,-68.422),(-237.684,-68.789),(-236.915,-69.252),(-236.032,-70.062),(-235.428,-70.918),(-234.963,-72.02),(-234.769,-73.05),(-234.803,-74.247),(-235.056,-75.264),(-235.504,-76.212),(-236.235,-77.159),(-237.037,-77.834),(-238.096,-78.392),(-239.104,-78.673),(-240.541,-78.781),(-241.207,-78.906),(-242.096,-79.237),(-242.793,-79.658),(-243.5,-80.288),(-244.136,-81.164),(-244.517,-82.032),(-244.733,-83.094),(-244.719,-84.041),(-244.474,-85.096),(-243.996,-86.067),(-243.311,-86.907),(-242.452,-87.568),(-241.596,-87.974),(-240.81,-88.181),(-239.401,-88.285),(-238.665,-88.422),(-237.684,-88.789),(-236.915,-89.252),(-236.032,-90.062),(-235.428,-90.918),(-234.963,-92.02),(-234.769,-93.05),(-234.803,-94.247),(-235.108,-95.404),(-235.666,-96.463),(-236.341,-97.265),(-237.288,-97.996),(-238.236,-98.444),(-239.253,-98.697),(-240.541,-98.781),(-241.207,-98.906),(-241.849,-99.124),(-242.567,-99.504),(-243.311,-100.093),(-243.996,-100.933),(-244.426,-101.776),(-244.681,-102.69),(-244.733,-103.906),(-244.517,-104.968),(-244.068,-105.952),(-243.311,-106.907),(-242.452,-107.568),(-241.596,-107.974),(-240.81,-108.181),(-239.401,-108.285),(-238.665,-108.422),(-237.957,-108.664),(-237.161,-109.084),(-236.341,-109.735),(-235.666,-110.537),(-235.164,-111.457),(-234.855,-112.457),(-234.75,-113.5),(-234.752,-122.15),(-234.827,-122.896),(-235.056,-123.764),(-235.428,-124.582),(-235.842,-125.206),(-236.341,-125.765),(-236.915,-126.248),(-237.684,-126.711),(-238.378,-126.993),(-239.253,-127.197)])
P(waveguide_36, DevRec, [(-240,-127.749),(-240,-126.251),(-238.9,-126.106),(-238.204,-125.852),(-237.562,-125.482),(-236.994,-125.006),(-236.518,-124.438),(-236.148,-123.796),(-235.894,-123.1),(-235.75,-121.998),(-235.75,-113.502),(-235.894,-112.4),(-236.148,-111.704),(-236.518,-111.062),(-236.994,-110.494),(-237.875,-109.819),(-238.9,-109.394),(-239.629,-109.266),(-240.998,-109.163),(-241.966,-108.903),(-242.875,-108.479),(-243.696,-107.905),(-244.405,-107.196),(-244.71,-106.798),(-245.212,-105.93),(-245.554,-104.988),(-245.663,-104.498),(-245.75,-103.5),(-245.663,-102.502),(-245.554,-102.012),(-245.212,-101.07),(-244.71,-100.202),(-244.066,-99.434),(-243.298,-98.79),(-242.43,-98.288),(-241.966,-98.097),(-240.998,-97.837),(-239.629,-97.734),(-238.9,-97.606),(-238.204,-97.352),(-237.562,-96.982),(-236.994,-96.506),(-236.319,-95.625),(-235.894,-94.6),(-235.766,-93.871),(-235.766,-93.129),(-236.007,-92.046),(-236.518,-91.062),(-236.994,-90.494),(-237.562,-90.018),(-238.546,-89.507),(-239.262,-89.315),(-240.501,-89.228),(-241.488,-89.054),(-242.43,-88.712),(-243.298,-88.21),(-243.696,-87.905),(-244.405,-87.196),(-244.979,-86.375),(-245.212,-85.93),(-245.554,-84.988),(-245.728,-84.001),(-245.75,-83.5),(-245.663,-82.502),(-245.403,-81.534),(-245.212,-81.07),(-244.71,-80.202),(-244.066,-79.434),(-243.298,-78.79),(-242.43,-78.288),(-241.966,-78.097),(-240.998,-77.837),(-239.629,-77.734),(-238.9,-77.606),(-238.204,-77.352),(-237.562,-76.982),(-236.994,-76.506),(-236.319,-75.625),(-235.894,-74.6),(-235.766,-73.871),(-235.766,-73.129),(-236.007,-72.046),(-236.518,-71.062),(-236.994,-70.494),(-237.562,-70.018),(-238.546,-69.507),(-239.262,-69.315),(-240.501,-69.228),(-241.488,-69.054),(-242.43,-68.712),(-243.298,-68.21),(-243.696,-67.905),(-244.405,-67.196),(-244.979,-66.375),(-245.212,-65.93),(-245.554,-64.988),(-245.728,-64.001),(-245.75,-63.5),(-245.663,-62.502),(-245.403,-61.534),(-245.212,-61.07),(-244.71,-60.202),(-244.066,-59.434),(-243.298,-58.79),(-242.43,-58.288),(-241.966,-58.097),(-240.998,-57.837),(-239.629,-57.734),(-238.9,-57.606),(-238.204,-57.352),(-237.562,-56.982),(-236.994,-56.506),(-236.319,-55.625),(-235.894,-54.6),(-235.766,-53.871),(-235.766,-53.129),(-236.007,-52.046),(-236.518,-51.062),(-236.994,-50.494),(-237.562,-50.018),(-238.546,-49.507),(-239.262,-49.315),(-240.501,-49.228),(-241.488,-49.054),(-242.43,-48.712),(-243.298,-48.21),(-243.696,-47.905),(-244.405,-47.196),(-244.979,-46.375),(-245.212,-45.93),(-245.554,-44.988),(-245.728,-44.001),(-245.75,-43.5),(-245.663,-42.502),(-245.403,-41.534),(-245.212,-41.07),(-244.71,-40.202),(-244.066,-39.434),(-243.298,-38.79),(-242.43,-38.288),(-241.966,-38.097),(-240.998,-37.837),(-239.629,-37.734),(-238.9,-37.606),(-238.204,-37.352),(-237.562,-36.982),(-236.994,-36.506),(-236.319,-35.625),(-235.894,-34.6),(-235.766,-33.871),(-235.766,-33.129),(-236.007,-32.046),(-236.518,-31.062),(-236.994,-30.494),(-237.562,-30.018),(-238.546,-29.507),(-239.262,-29.315),(-240.501,-29.228),(-241.488,-29.054),(-242.43,-28.712),(-243.298,-28.21),(-243.696,-27.905),(-244.405,-27.196),(-244.979,-26.375),(-245.212,-25.93),(-245.554,-24.988),(-245.728,-24.001),(-245.75,-23.5),(-245.663,-22.502),(-245.403,-21.534),(-245.212,-21.07),(-244.71,-20.202),(-244.066,-19.434),(-243.298,-18.79),(-242.43,-18.288),(-241.966,-18.097),(-240.998,-17.837),(-239.629,-17.734),(-238.9,-17.606),(-237.875,-17.181),(-236.994,-16.506),(-236.518,-15.938),(-236.148,-15.296),(-235.894,-14.6),(-235.75,-13.498),(-235.75,-5.002),(-235.894,-3.9),(-236.148,-3.204),(-236.518,-2.562),(-236.994,-1.994),(-237.562,-1.518),(-238.204,-1.148),(-238.9,-0.894),(-240,-0.749),(-240,0.749),(-239.002,0.663),(-238.512,0.554),(-237.57,0.212),(-236.702,-0.29),(-235.934,-0.934),(-235.29,-1.702),(-234.788,-2.57),(-234.446,-3.512),(-234.337,-4.002),(-234.25,-4.998),(-234.272,-14.001),(-234.446,-14.988),(-234.788,-15.93),(-235.021,-16.375),(-235.595,-17.196),(-235.934,-17.566),(-236.702,-18.21),(-237.57,-18.712),(-238.512,-19.054),(-239.002,-19.163),(-240.371,-19.266),(-241.1,-19.394),(-241.796,-19.648),(-242.438,-20.018),(-243.006,-20.494),(-243.681,-21.375),(-244.106,-22.4),(-244.234,-23.129),(-244.185,-24.238),(-243.852,-25.296),(-243.255,-26.232),(-242.438,-26.982),(-241.796,-27.352),(-241.1,-27.606),(-240.371,-27.734),(-239.002,-27.837),(-238.034,-28.097),(-237.57,-28.288),(-236.702,-28.79),(-235.934,-29.434),(-235.29,-30.202),(-234.788,-31.07),(-234.446,-32.012),(-234.337,-32.502),(-234.25,-33.5),(-234.337,-34.498),(-234.446,-34.988),(-234.788,-35.93),(-235.29,-36.798),(-235.934,-37.566),(-236.702,-38.21),(-237.57,-38.712),(-238.034,-38.903),(-239.002,-39.163),(-240.371,-39.266),(-241.1,-39.394),(-241.796,-39.648),(-242.438,-40.018),(-243.006,-40.494),(-243.681,-41.375),(-244.106,-42.4),(-244.234,-43.129),(-244.234,-43.871),(-243.993,-44.954),(-243.482,-45.938),(-243.006,-46.506),(-242.438,-46.982),(-241.454,-47.493),(-240.738,-47.685),(-239.499,-47.772),(-238.512,-47.946),(-237.57,-48.288),(-236.702,-48.79),(-236.304,-49.095),(-235.595,-49.804),(-235.021,-50.625),(-234.788,-51.07),(-234.446,-52.012),(-234.272,-52.999),(-234.25,-53.5),(-234.337,-54.498),(-234.597,-55.466),(-234.788,-55.93),(-235.29,-56.798),(-235.934,-57.566),(-236.702,-58.21),(-237.57,-58.712),(-238.034,-58.903),(-239.002,-59.163),(-240.371,-59.266),(-241.1,-59.394),(-241.796,-59.648),(-242.438,-60.018),(-243.006,-60.494),(-243.681,-61.375),(-244.106,-62.4),(-244.234,-63.129),(-244.234,-63.871),(-243.993,-64.954),(-243.482,-65.938),(-243.006,-66.506),(-242.438,-66.982),(-241.454,-67.493),(-240.738,-67.685),(-239.499,-67.772),(-238.512,-67.946),(-237.57,-68.288),(-236.702,-68.79),(-236.304,-69.095),(-235.595,-69.804),(-235.021,-70.625),(-234.788,-71.07),(-234.446,-72.012),(-234.272,-72.999),(-234.25,-73.5),(-234.337,-74.498),(-234.597,-75.466),(-234.788,-75.93),(-235.29,-76.798),(-235.934,-77.566),(-236.702,-78.21),(-237.57,-78.712),(-238.034,-78.903),(-239.002,-79.163),(-240.371,-79.266),(-241.1,-79.394),(-241.796,-79.648),(-242.438,-80.018),(-243.006,-80.494),(-243.681,-81.375),(-244.106,-82.4),(-244.234,-83.129),(-244.234,-83.871),(-243.993,-84.954),(-243.482,-85.938),(-243.006,-86.506),(-242.438,-86.982),(-241.454,-87.493),(-240.738,-87.685),(-239.499,-87.772),(-238.512,-87.946),(-237.57,-88.288),(-236.702,-88.79),(-236.304,-89.095),(-235.595,-89.804),(-235.021,-90.625),(-234.788,-91.07),(-234.446,-92.012),(-234.272,-92.999),(-234.25,-93.5),(-234.337,-94.498),(-234.597,-95.466),(-234.788,-95.93),(-235.29,-96.798),(-235.934,-97.566),(-236.702,-98.21),(-237.57,-98.712),(-238.034,-98.903),(-239.002,-99.163),(-240.371,-99.266),(-241.1,-99.394),(-242.125,-99.819),(-243.006,-100.494),(-243.482,-101.062),(-243.852,-101.704),(-244.185,-102.762),(-244.25,-103.5),(-244.106,-104.6),(-243.681,-105.625),(-243.006,-106.506),(-242.438,-106.982),(-241.454,-107.493),(-240.738,-107.685),(-239.499,-107.772),(-238.512,-107.946),(-237.57,-108.288),(-236.702,-108.79),(-235.934,-109.434),(-235.29,-110.202),(-234.788,-111.07),(-234.446,-112.012),(-234.337,-112.502),(-234.25,-113.498),(-234.25,-122.002),(-234.337,-122.998),(-234.597,-123.966),(-235.021,-124.875),(-235.595,-125.696),(-236.304,-126.405),(-236.702,-126.71),(-237.57,-127.212),(-238.512,-127.554),(-239.002,-127.663)])
waveguide_36.add(gdstk.FlexPath([(-239.95,0),(-240.05,0)], 0.5, ends="flush", simple_path=True, layer=1, datatype=10))  # PinRec
waveguide_36.add(gdstk.FlexPath([(-239.95,-127),(-240.05,-127)], 0.5, ends="flush", simple_path=True, layer=1, datatype=10))  # PinRec
waveguide_36.add(gdstk.Label('pin1', (-240,0), layer=1, texttype=10))
waveguide_36.add(gdstk.Label('pin2', (-240,-127), layer=1, texttype=10))
waveguide_36.add(gdstk.Label('cellName=Waveguide', (-240,0.2), layer=68, texttype=0))
waveguide_36.add(gdstk.Label('Lumerical_INTERCONNECT_library=Design kits/EBeam', (-240,-0.1), layer=68, texttype=0))
waveguide_36.add(gdstk.Label('Component=ebeam_wg_integral_1550', (-240,0.1), layer=68, texttype=0))
waveguide_36.add(gdstk.Label('Length=189.764u', (-240,-0.2), layer=68, texttype=0))

componenttest_wgsnake = lib.new_cell('ComponentTest_WgSnake')
r = gdstk.Reference(ebeam_gc_te1550, (33,10.7)); r.repetition = gdstk.Repetition(1, 2, v1=(0,0), v2=(0,127)); componenttest_wgsnake.add(r)
componenttest_wgsnake.add(gdstk.Reference(waveguide_36, (273,137.7)))
componenttest_wgsnake.add(gdstk.Label('opt_in_TE_1550_device_KevinE_Snake1', (33,137.7), layer=10, texttype=0))
componenttest_wgsnake.add(gdstk.Label('opt_in_TE_1550_device_KevinE_Snake2', (33,10.7), layer=10, texttype=0))

lib.write_gds('ComponentTest_WgSnake.gds')
